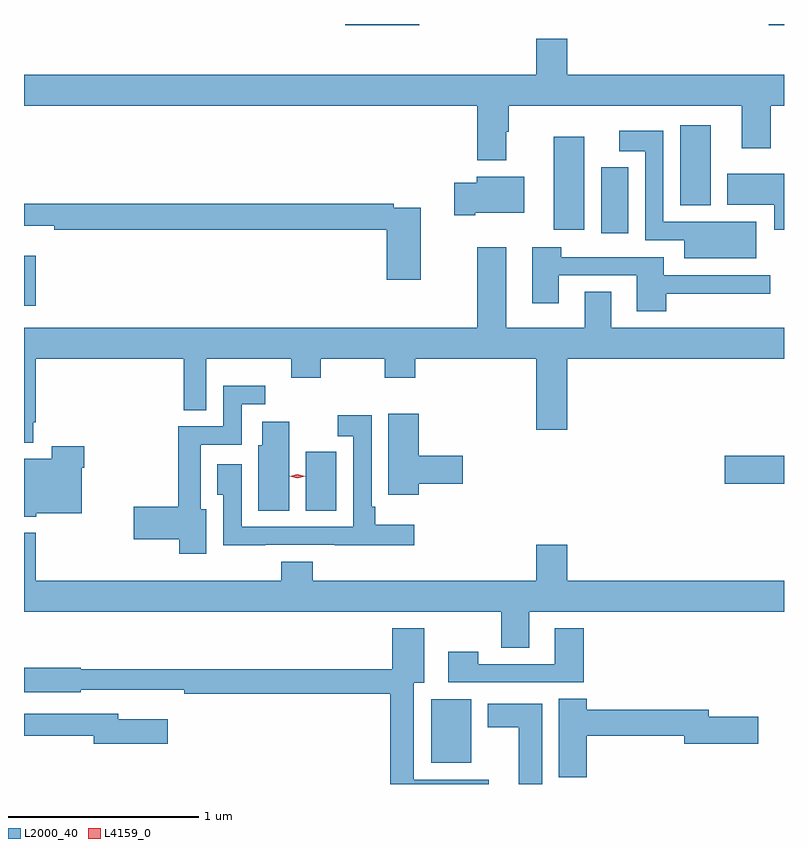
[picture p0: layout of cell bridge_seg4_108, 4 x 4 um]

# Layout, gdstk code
import gdstk
lib = gdstk.Library(unit=1e-6, precision=1e-09)
def R(c, l, rs):  # rectangles x0, y0, x1, y1
    for r in rs: c.add(gdstk.rectangle(r[:2], r[2:], *l))
def P(c, l, *ps):  # polygons
    for p in ps: c.add(gdstk.Polygon(p, *l))
L2000_40 = (2000, 40)
L4159_0 = (4159, 0)

bridge_seg4_108 = lib.new_cell('bridge_seg4_108')
R(bridge_seg4_108, L2000_40, [(536.084,765.389,536.296,765.724), (535.424,766.717,535.585,767.028), (537.63,766.859,537.941,767.006), (533.941,767.795,534.004,768.058), (536.978,768.177,537.121,768.523), (536.729,768.195,536.89,768.685), (537.395,768.323,537.556,768.745), (535.632,769.271,536.02,769.278), (537.86,769.271,537.941,769.278)])
P(bridge_seg4_108, L2000_40, [(536.479,768.71),(536.492,768.71),(536.492,768.848),(537.719,768.848),(537.719,768.624),(537.872,768.624),(537.872,768.848),(537.941,768.848),(537.941,769.012),(536.8,769.012),(536.8,769.201),(536.636,769.201),(536.636,769.012),(533.941,769.012),(533.941,768.848),(536.327,768.848),(536.327,768.56),(536.479,768.56)],
  [(537.796,768.238),(537.552,768.238),(537.552,768.237),(537.306,768.237),(537.306,768.715),(537.075,768.715),(537.075,768.608),(537.21,768.608),(537.21,768.141),(537.416,768.141),(537.416,768.044),(537.796,768.044)],
  [(537.941,768.49),(537.641,768.49),(537.641,768.326),(537.89,768.326),(537.89,768.196),(537.941,768.196)],
  [(536.317,768.284),(536.575,768.284),(536.575,768.475),(536.324,768.475),(536.324,768.442),(536.205,768.442),(536.205,768.272),(536.317,768.272)],
  [(536.028,768.312),(535.886,768.312),(535.886,768.332),(533.941,768.332),(533.941,768.215),(534.1,768.215),(534.1,768.196),(535.85,768.196),(535.85,767.931),(536.028,767.931)],
  [(537.32,767.858),(537.868,767.858),(537.868,767.955),(537.307,767.955),(537.307,768.051),(536.768,768.051),(536.768,768.103),(536.615,768.103),(536.615,767.808),(536.755,767.808),(536.755,767.955),(537.167,767.955),(537.167,767.766),(537.32,767.766)],
  [(533.941,767.075),(533.989,767.075),(533.989,767.182),(534.002,767.182),(534.002,767.516),(534.783,767.516),(534.783,767.245),(534.901,767.245),(534.901,767.516),(535.348,767.516),(535.348,767.417),(535.503,767.417),(535.503,767.516),(535.84,767.516),(535.84,767.417),(536,767.417),(536,767.516),(536.636,767.516),(536.636,767.142),(536.8,767.142),(536.8,767.516),(537.941,767.516),(537.941,767.68),(537.031,767.68),(537.031,767.87),(536.891,767.87),(536.891,767.68),(536.479,767.68),(536.479,768.103),(536.327,768.103),(536.327,767.68),(533.941,767.68)],
  [(534.901,766.723),(534.871,766.723),(534.871,767.064),(535.086,767.064),(535.086,767.277),(535.21,767.277),(535.21,767.374),(534.99,767.374),(534.99,767.16),(534.753,767.16),(534.753,766.736),(534.519,766.736),(534.519,766.565),(534.758,766.565),(534.758,766.491),(534.901,766.491)],
  [(536.018,766.859),(536.251,766.859),(536.251,767.006),(536.018,767.006),(536.018,767.227),(535.859,767.227),(535.859,766.8),(536.018,766.8)],
  [(535.211,766.536),(535.577,766.536),(535.577,766.535),(535.996,766.535),(535.996,766.642),(535.79,766.642),(535.79,766.738),(535.77,766.738),(535.77,767.218),(535.593,767.218),(535.593,767.109),(535.674,767.109),(535.674,766.632),(535.086,766.632),(535.086,766.96),(534.959,766.96),(534.959,766.801),(534.99,766.801),(534.99,766.535),(535.211,766.535)],
  [(535.336,767.185),(535.196,767.185),(535.196,767.061),(535.175,767.061),(535.175,766.717),(535.336,766.717)],
  [(534.006,766.703),(534.244,766.703),(534.244,766.943),(534.257,766.943),(534.257,767.056),(534.086,767.056),(534.086,766.99),(533.941,766.99),(533.941,766.685),(534.006,766.685)],
  [(536.599,766.184),(537.941,766.184),(537.941,766.348),(536.8,766.348),(536.8,766.537),(536.636,766.537),(536.636,766.348),(535.46,766.348),(535.46,766.447),(535.295,766.447),(535.295,766.348),(534.002,766.348),(534.002,766.6),(533.941,766.6),(533.941,766.184),(536.452,766.184),(536.452,765.994),(536.599,765.994)],
  [(536.386,765.3),(535.993,765.3),(535.993,765.812),(536.047,765.812),(536.047,766.099),(535.88,766.099),(535.88,765.883),(534.24,765.883),(534.24,765.891),(533.941,765.891),(533.941,765.761),(534.24,765.761),(534.24,765.774),(534.532,765.774),(534.532,765.773),(534.784,765.773),(534.784,765.754),(535.868,765.754),(535.868,765.278),(536.386,765.278)],
  [(536.888,766.099),(536.735,766.099),(536.735,765.909),(536.331,765.909),(536.331,765.973),(536.175,765.973),(536.175,765.813),(536.888,765.813)],
  [(536.903,765.532),(537.416,765.532),(537.416,765.49),(537.805,765.49),(537.805,765.632),(537.544,765.632),(537.544,765.668),(536.903,765.668),(536.903,765.728),(536.756,765.728),(536.756,765.313),(536.903,765.313)],
  [(536.668,765.7),(536.381,765.7),(536.381,765.578),(536.546,765.578),(536.546,765.278),(536.668,765.278)],
  [(534.697,765.619),(534.436,765.619),(534.436,765.648),(533.941,765.648),(533.941,765.532),(534.308,765.532),(534.308,765.49),(534.697,765.49)])
P(bridge_seg4_108, L4159_0, [(535.38,766.887),(535.34,766.897),(535.34,766.897),(535.34,766.897),(535.38,766.907),(535.42,766.897),(535.42,766.897),(535.42,766.897)])

lib.write_gds('bridge_seg4_108.gds')
